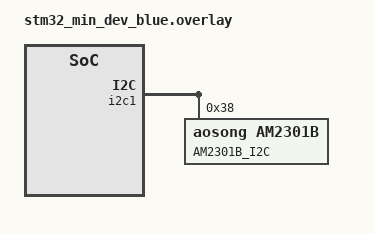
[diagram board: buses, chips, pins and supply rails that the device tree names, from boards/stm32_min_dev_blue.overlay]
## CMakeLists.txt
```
# Copyright (c) 2022 Hisanori YAMAOKU
# SPDX-License-Identifier: Apache-2.0

cmake_minimum_required(VERSION 3.20.0)
find_package(Zephyr REQUIRED HINTS $ENV{ZEPHYR_BASE})
project(am2301b)

FILE(GLOB app_sources src/*.c)
target_sources(app PRIVATE ${app_sources})
```

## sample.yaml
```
sample:
  name: AM2301B Sensor sample
tests:
  sample.sensor.am2301b:
    harness: console
    tags: sensors
    platform_allow: stm32_min_dev_blue
    integration_platforms:
      - stm32_min_dev_blue
    depends_on: i2c
    timeout: 15
    harness_config:
      type: one_line
      regex:
        - "temp: [-.0-9]*; humidity:[-.0-9]*"
```

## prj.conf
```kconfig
CONFIG_LOG=y
CONFIG_SENSOR=y
CONFIG_AM2301B=y
CONFIG_AM2301B_CRC_CHECK=y
CONFIG_SENSOR_LOG_LEVEL_INF=y
CONFIG_I2C=y
```

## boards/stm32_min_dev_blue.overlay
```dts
/*
 * Copyright (c) 2022 Hisanori Yamaoku
 * SPDX-License-Identifier: Apache-2.0
 */

&i2c1 {
	status = "okay";
	am2301b@38 {
		compatible = "aosong,am2301b";
		reg = <0x38>;
		label = "AM2301B_I2C";
	};
};
```

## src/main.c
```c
/*
 * Copyright (c) 2022 Hisanori YAMAOKU
 * SPDX-License-Identifier: Apache-2.0
 */

#include <zephyr/zephyr.h>
#include <zephyr/device.h>
#include <zephyr/devicetree.h>
#include <zephyr/drivers/sensor.h>

void main(void)
{
	/*
	 * Get a device structure from a devicetree node with compatible
	 * "aosong,am2301b". (If there are multiple, just pick one.)
	 */
	const struct device *dev = DEVICE_DT_GET_ANY(aosong_am2301b);

	if (dev == NULL) {
		/* No such node, or the node does not have status "okay". */
		printk("\nError: no device found.\n");
		return;
	}

	if (!device_is_ready(dev)) {
		printk("\nError: Device \"%s\" is not ready; "
		       "check the driver initialization logs for errors.\n",
		       dev->name);
		return;
	}

	printk("Found device \"%s\", getting sensor data\n", dev->name);

	while (1) {
		struct sensor_value temp, humidity;

		sensor_sample_fetch(dev);
		sensor_channel_get(dev, SENSOR_CHAN_AMBIENT_TEMP, &temp);
		sensor_channel_get(dev, SENSOR_CHAN_HUMIDITY, &humidity);

		printk("temp: %d.%06d; humidity: %d.%06d\n",
		       temp.val1, temp.val2, humidity.val1, humidity.val2);

		k_sleep(K_MSEC(1000));
	}
}
```
